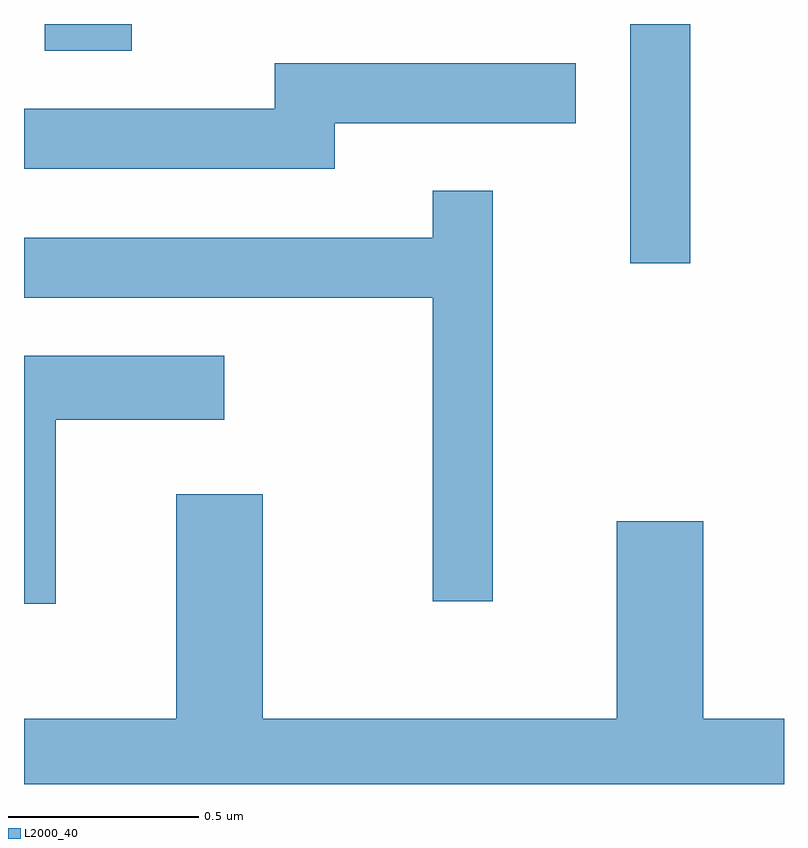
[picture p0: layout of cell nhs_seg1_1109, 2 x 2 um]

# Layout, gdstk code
import gdstk
lib = gdstk.Library(unit=1e-6, precision=1e-09)
def R(c, l, rs):  # rectangles x0, y0, x1, y1
    for r in rs: c.add(gdstk.rectangle(r[:2], r[2:], *l))
def P(c, l, *ps):  # polygons
    for p in ps: c.add(gdstk.Polygon(p, *l))
L2000_40 = (2000, 40)

nhs_seg1_1109 = lib.new_cell('nhs_seg1_1109')
R(nhs_seg1_1109, L2000_40, [(195.206,861.083,195.364,861.712), (193.666,861.641,193.894,861.712)])
P(nhs_seg1_1109, L2000_40, [(194.429,861.451),(195.063,861.451),(195.063,861.609),(194.271,861.609),(194.271,861.489),(193.611,861.489),(193.611,861.331),(194.429,861.331)],
  [(194.844,861.273),(194.686,861.273),(194.686,861.149),(193.611,861.149),(193.611,860.991),(194.686,860.991),(194.686,860.193),(194.844,860.193)],
  [(193.694,860.671),(194.138,860.671),(194.138,860.839),(193.611,860.839),(193.611,860.186),(193.694,860.186)],
  [(195.611,859.884),(195.399,859.884),(195.399,860.404),(195.171,860.404),(195.171,859.884),(194.239,859.884),(194.239,860.474),(194.011,860.474),(194.011,859.884),(193.611,859.884),(193.611,859.712),(195.611,859.712)])

lib.write_gds('nhs_seg1_1109.gds')
